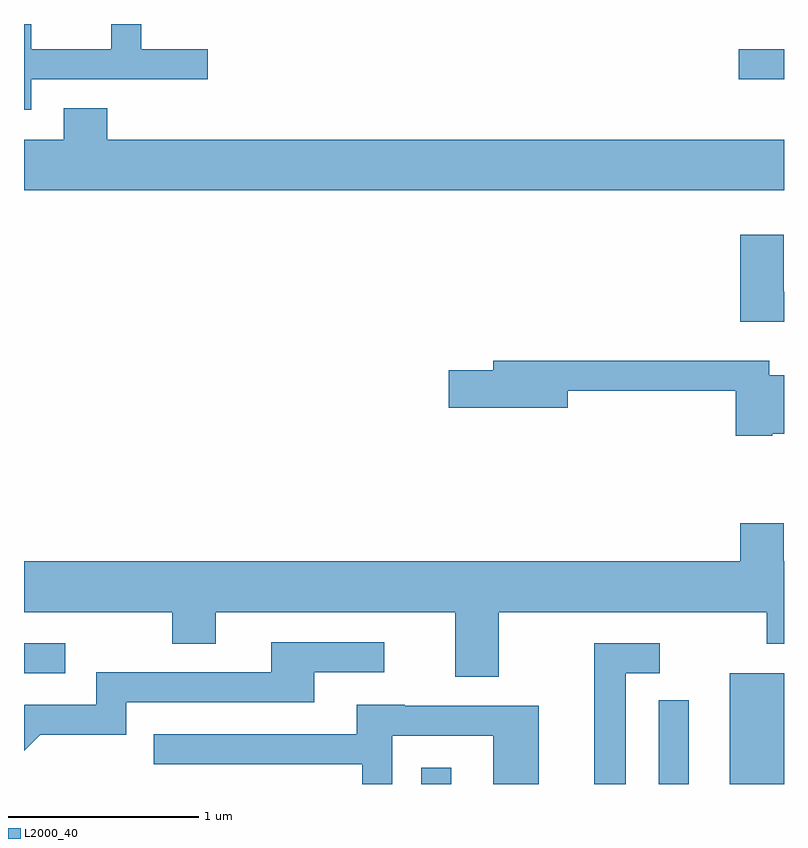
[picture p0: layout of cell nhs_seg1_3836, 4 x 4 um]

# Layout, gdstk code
import gdstk
lib = gdstk.Library(unit=1e-6, precision=1e-09)
def R(c, l, rs):  # rectangles x0, y0, x1, y1
    for r in rs: c.add(gdstk.rectangle(r[:2], r[2:], *l))
def P(c, l, *ps):  # polygons
    for p in ps: c.add(gdstk.Polygon(p, *l))
L2000_40 = (2000, 40)

nhs_seg1_3836 = lib.new_cell('nhs_seg1_3836')
R(nhs_seg1_3836, L2000_40, [(301.701,969.712,301.859,969.798), (302.951,969.712,303.109,970.153), (303.326,969.712,303.611,970.294), (299.611,970.296,299.828,970.454), (303.373,973.421,303.611,973.579)])
P(nhs_seg1_3836, L2000_40, [(299.649,973.421),(300.578,973.421),(300.578,973.579),(300.229,973.579),(300.229,973.712),(300.071,973.712),(300.071,973.579),(299.649,973.579),(299.649,973.712),(299.611,973.712),(299.611,973.261),(299.649,973.261)],
  [(303.611,973.104),(300.049,973.104),(300.049,973.269),(299.821,973.269),(299.821,973.104),(299.611,973.104),(299.611,972.836),(303.611,972.836)],
  [(303.611,972.304),(303.609,972.304),(303.609,972.604),(303.381,972.604),(303.381,972.146),(303.611,972.146)],
  [(303.55,971.556),(303.611,971.556),(303.611,971.864),(303.534,971.864),(303.534,971.939),(302.081,971.939),(302.081,971.889),(301.846,971.889),(301.846,971.691),(302.474,971.691),(302.474,971.781),(303.356,971.781),(303.356,971.546),(303.55,971.546)],
  [(302.109,970.616),(303.521,970.616),(303.521,970.451),(303.611,970.451),(303.611,970.884),(303.609,970.884),(303.609,971.084),(303.381,971.084),(303.381,970.884),(299.611,970.884),(299.611,970.616),(300.391,970.616),(300.391,970.451),(300.619,970.451),(300.619,970.616),(301.881,970.616),(301.881,970.276),(302.109,970.276)],
  [(299.697,969.971),(300.149,969.971),(300.149,970.141),(301.139,970.141),(301.139,970.301),(301.508,970.301),(301.508,970.459),(300.911,970.459),(300.911,970.299),(299.991,970.299),(299.991,970.129),(299.614,970.129),(299.611,970.126),(299.611,969.886)],
  [(302.779,970.296),(302.958,970.296),(302.958,970.454),(302.611,970.454),(302.611,969.712),(302.779,969.712)],
  [(301.549,969.966),(302.081,969.966),(302.081,969.712),(302.319,969.712),(302.319,970.124),(301.615,970.124),(301.615,970.129),(301.361,970.129),(301.361,969.974),(300.293,969.974),(300.293,969.816),(301.391,969.816),(301.391,969.712),(301.549,969.712)])

lib.write_gds('nhs_seg1_3836.gds')
